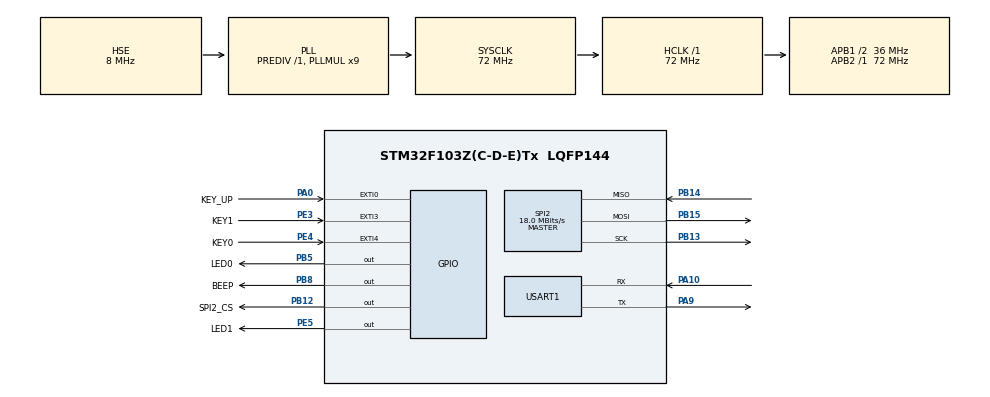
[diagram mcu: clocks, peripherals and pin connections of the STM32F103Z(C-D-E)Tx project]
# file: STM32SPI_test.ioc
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Mcu.Family=STM32F1
Mcu.Name=STM32F103Z(C-D-E)Tx
Mcu.Package=LQFP144
NVIC.EXTI0_IRQn=true\:1\:0\:true\:false\:true\:true\:true\:true
NVIC.EXTI3_IRQn=true\:1\:0\:true\:false\:true\:true\:true\:true
NVIC.EXTI4_IRQn=true\:1\:0\:true\:false\:true\:true\:true\:true
NVIC.PriorityGroup=NVIC_PRIORITYGROUP_4
NVIC.USART1_IRQn=true\:0\:0\:false\:false\:true\:true\:true\:true
OSC_IN.Mode=HSE-External-Oscillator
OSC_IN.Signal=RCC_OSC_IN
OSC_OUT.Mode=HSE-External-Oscillator
OSC_OUT.Signal=RCC_OSC_OUT
PA0-WKUP.GPIO_Label=KEY_UP
PA0-WKUP.GPIO_ModeDefaultEXTI=GPIO_MODE_IT_FALLING
PA0-WKUP.GPIO_PuPd=GPIO_PULLDOWN
PA0-WKUP.Signal=GPXTI0
PA10.Mode=Asynchronous
PA10.Signal=USART1_RX
PA13.Mode=Serial_Wire
PA13.Signal=SYS_JTMS-SWDIO
PA14.Mode=Serial_Wire
PA14.Signal=SYS_JTCK-SWCLK
PA9.Mode=Asynchronous
PA9.Signal=USART1_TX
PB12.GPIO_Label=SPI2_CS
PB12.GPIO_Speed=GPIO_SPEED_FREQ_HIGH
PB12.PinState=GPIO_PIN_SET
PB12.Signal=GPIO_Output
PB13.Mode=Full_Duplex_Master
PB13.Signal=SPI2_SCK
PB14.Mode=Full_Duplex_Master
PB14.Signal=SPI2_MISO
PB15.Mode=Full_Duplex_Master
PB15.Signal=SPI2_MOSI
PB5.GPIO_Label=LED0
PB5.GPIO_PuPd=GPIO_NOPULL
PB5.Signal=GPIO_Output
PB8.GPIO_Label=BEEP
PB8.Signal=GPIO_Output
PC14-OSC32_IN.Mode=LSE-External-Oscillator
PC14-OSC32_IN.Signal=RCC_OSC32_IN
PC15-OSC32_OUT.Mode=LSE-External-Oscillator
PC15-OSC32_OUT.Signal=RCC_OSC32_OUT
PE3.GPIO_Label=KEY1
PE3.GPIO_ModeDefaultEXTI=GPIO_MODE_IT_FALLING
PE3.GPIO_PuPd=GPIO_PULLUP
PE3.Signal=GPXTI3
PE4.GPIO_Label=KEY0
PE4.GPIO_ModeDefaultEXTI=GPIO_MODE_IT_FALLING
PE4.GPIO_PuPd=GPIO_PULLUP
PE4.Signal=GPXTI4
PE5.GPIO_Label=LED1
PE5.Signal=GPIO_Output
ProjectManager.HeapSize=0x200
ProjectManager.StackSize=0x400
ProjectManager.TargetToolchain=MDK-ARM V5
RCC.AHBFreq_Value=72000000
RCC.APB1CLKDivider=RCC_HCLK_DIV2
RCC.APB1Freq_Value=36000000
RCC.APB1TimFreq_Value=72000000
RCC.APB2Freq_Value=72000000
RCC.APB2TimFreq_Value=72000000
RCC.HCLKFreq_Value=72000000
RCC.PLLMUL=RCC_PLL_MUL9
RCC.PLLSourceVirtual=RCC_PLLSOURCE_HSE
RCC.SYSCLKFreq_VALUE=72000000
RCC.SYSCLKSource=RCC_SYSCLKSOURCE_PLLCLK
RCC.USBFreq_Value=72000000
SPI2.BaudRatePrescaler=SPI_BAUDRATEPRESCALER_2
SPI2.CLKPhase=SPI_PHASE_2EDGE
SPI2.CLKPolarity=SPI_POLARITY_HIGH
SPI2.CalculateBaudRate=18.0 MBits/s
SPI2.Direction=SPI_DIRECTION_2LINES
SPI2.Mode=SPI_MODE_MASTER
SPI2.VirtualType=VM_MASTER
USART1.VirtualMode=VM_ASYNC
board=custom

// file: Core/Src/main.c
/* USER CODE BEGIN Header */
/**
  ******************************************************************************
  * @file           : main.c
  * @brief          : Main program body
  ******************************************************************************
  * @attention
  *
  * Copyright (c) 2025 STMicroelectronics.
  * All rights reserved.
  *
  * This software is licensed under terms that can be found in the LICENSE file
  * in the root directory of this software component.
  * If no LICENSE file comes with this software, it is provided AS-IS.
  *
  ******************************************************************************
  */
/* USER CODE END Header */
#include "main.h"
#include "spi.h"
#include "usart.h"
#include "gpio.h"

/* USER CODE BEGIN PD */
extern uint8_t Buffer[1]; // 来自usart.c

/* USER CODE END PD */

/* USER CODE BEGIN PV */
uint8_t i;
uint32_t FLASH_ID;
uint8_t array_write[100]={0}, array_read[100]={0};

/* USER CODE END PV */

void SystemClock_Config(void);

int main(void)
{

  /* MCU Configuration--------------------------------------------------------*/

  /* Reset of all peripherals, Initializes the Flash interface and the Systick. */
  HAL_Init();

  /* Configure the system clock */
  SystemClock_Config();

  /* Initialize all configured peripherals */
  MX_GPIO_Init();
  MX_USART1_UART_Init();
  MX_SPI2_Init();
  /* USER CODE BEGIN 2 */
  printf("\r\n USART1已准备就绪...\r\n");
  printf("\r\n SPI2已准备就绪...\r\n");
  LED0_OFF;
  LED1_OFF;
  BEEP_OFF;

  FLASH_ID = SPI_FLASH_JEDEC_ID();
  printf("\r\n Flash ID = 0x%x \r\n", FLASH_ID);

  SPI_FLASH_Sector_Erase(0x000000);
  printf("\r\n Flash某扇区已擦除完毕！！！\r\n");

  for(i = 0; i < 25; i++)
	array_write[i] = i * 2;
  SPI_FLASH_Page_Program(0x000000, 25, array_write);
  printf("\r\n数据写入完毕！！！\r\n");

  SPI_FLASH_Read_Data(0x000000, 100, array_read);
  printf("\r\n读取数据如下：\r\n \r\n");
  for(i = 0; i < 100; i++)
  {
	printf("0x%x ", array_read[i]);
	if(i % 10 == 0)
		printf("\r\n");
  }

  /* USER CODE END 2 */

  /* Infinite loop */
  while (1)
  {

  }
}

void SystemClock_Config(void)
{
  RCC_OscInitTypeDef RCC_OscInitStruct = {0};
  RCC_ClkInitTypeDef RCC_ClkInitStruct = {0};

  /** Initializes the RCC Oscillators according to the specified parameters
  * in the RCC_OscInitTypeDef structure.
  */
  RCC_OscInitStruct.OscillatorType = RCC_OSCILLATORTYPE_HSE;
  RCC_OscInitStruct.HSEState = RCC_HSE_ON;
  RCC_OscInitStruct.HSEPredivValue = RCC_HSE_PREDIV_DIV1;
  RCC_OscInitStruct.HSIState = RCC_HSI_ON;
  RCC_OscInitStruct.PLL.PLLState = RCC_PLL_ON;
  RCC_OscInitStruct.PLL.PLLSource = RCC_PLLSOURCE_HSE;
  RCC_OscInitStruct.PLL.PLLMUL = RCC_PLL_MUL9;
  if (HAL_RCC_OscConfig(&RCC_OscInitStruct) != HAL_OK)
  {
    Error_Handler();
  }

  /** Initializes the CPU, AHB and APB buses clocks
  */
  RCC_ClkInitStruct.ClockType = RCC_CLOCKTYPE_HCLK|RCC_CLOCKTYPE_SYSCLK
                              |RCC_CLOCKTYPE_PCLK1|RCC_CLOCKTYPE_PCLK2;
  RCC_ClkInitStruct.SYSCLKSource = RCC_SYSCLKSOURCE_PLLCLK;
  RCC_ClkInitStruct.AHBCLKDivider = RCC_SYSCLK_DIV1;
  RCC_ClkInitStruct.APB1CLKDivider = RCC_HCLK_DIV2;
  RCC_ClkInitStruct.APB2CLKDivider = RCC_HCLK_DIV1;

  if (HAL_RCC_ClockConfig(&RCC_ClkInitStruct, FLASH_LATENCY_2) != HAL_OK)
  {
    Error_Handler();
  }
}

void Error_Handler(void)
{
  __disable_irq();
  while (1)
  {
  }
}
